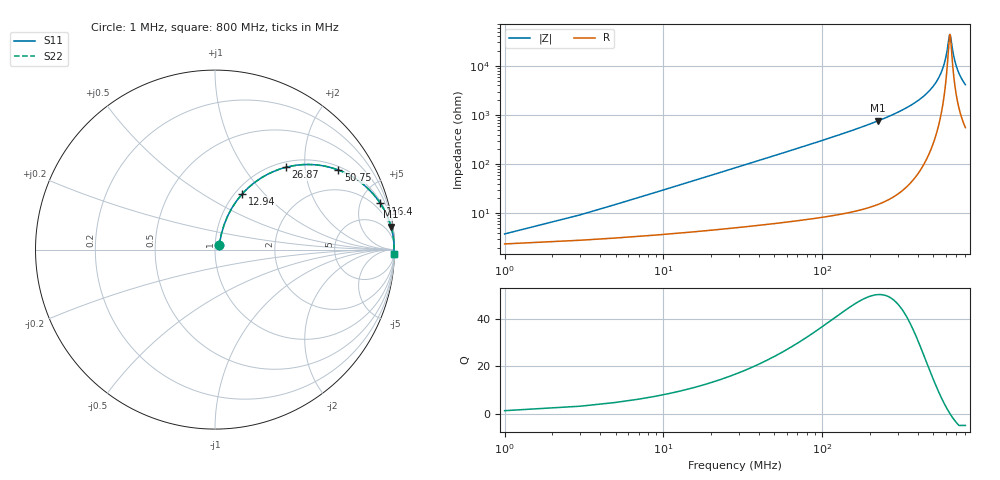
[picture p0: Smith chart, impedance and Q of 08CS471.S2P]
! Coilcraft 0805CS-471 Chip Inductor
! 11 June 2002
# MHZ S MA R 50
!Freq  MagS11  AngS11  MagS21  AngS21  MagS12  AngS12  MagS22  AngS22
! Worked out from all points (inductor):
!   403 points, 1 MHz to 800 MHz, reference 50 ohm
!   read as one part in series: L = 470 nH near 4.98 MHz
!   highest Q = 50.3 at 225.9 MHz (marker M1), where L = 537 nH
!   self-resonance near 637.8 MHz
!   S11 on the Smith chart (normalised r, x): 1 MHz: 1.05, +0.06; 12.94 MHz: 1.08, +0.76; 26.87 MHz: 1.10, +1.59; 50.75 MHz: 1.12, +3.02; 116.4 MHz: 1.18, +7.11; 800 MHz: 12, -82
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1  0.037 49.6  0.9764 -1.7  0.9764 -1.7  0.037 49.6
6.97  0.1979 69.4  0.9487 -11.3  0.9487 -11.3  0.1979 69.4
12.94  0.347 63.9  0.9027 -20.2  0.9027 -20.2  0.347 63.9
18.91  0.4733 57.3  0.8442 -28.2  0.8442 -28.2  0.4733 57.3
26.87  0.6049 49.3  0.7595 -37.1  0.7595 -37.1  0.6049 49.3
50.75  0.8183 32.8  0.5421 -54.9  0.5421 -54.9  0.8183 32.8
76.62  0.9064 23.2  0.3946 -64.9  0.3946 -64.9  0.9064 23.2
116.42  0.9564 15.6  0.2689 -73.0  0.2689 -73.0  0.9564 15.6
134.33  0.9671 13.5  0.233 -75.2  0.233 -75.2  0.9671 13.5
225.87  0.989 7.5  0.1297 -81.4  0.1297 -81.4  0.989 7.5
267.66  0.9925 5.9  0.1035 -82.9  0.1035 -82.9  0.9925 5.9
400.99  0.997 2.9  0.05107 -85.2  0.05107 -85.2  0.997 2.9
478.6  0.9978 1.8  0.03106 -85.0  0.03106 -85.0  0.9978 1.8
534.32  0.998 1.1  0.01914 -83.3  0.01914 -83.3  0.998 1.1
566.16  0.9979 0.7  0.01302 -80.5  0.01302 -80.5  0.9979 0.7
592.03  0.9979 0.5  0.008386 -75.2  0.008386 -75.2  0.9979 0.5
637.8  0.9977 0.0  0.002291 -6.4  0.002291 -6.4  0.9977 0.0
645.76  0.9977 -0.1  0.002543 24.4  0.002543 24.4  0.9977 -0.1
667.65  0.9976 -0.3  0.005175 61.8  0.005175 61.8  0.9976 -0.3
689.54  0.9974 -0.5  0.008374 71.9  0.008374 71.9  0.9974 -0.5
717.4  0.9972 -0.7  0.01247 76.8  0.01247 76.8  0.9972 -0.7
800  0.9965 -1.4  0.02403 81.0  0.02403 81.0  0.9965 -1.4
